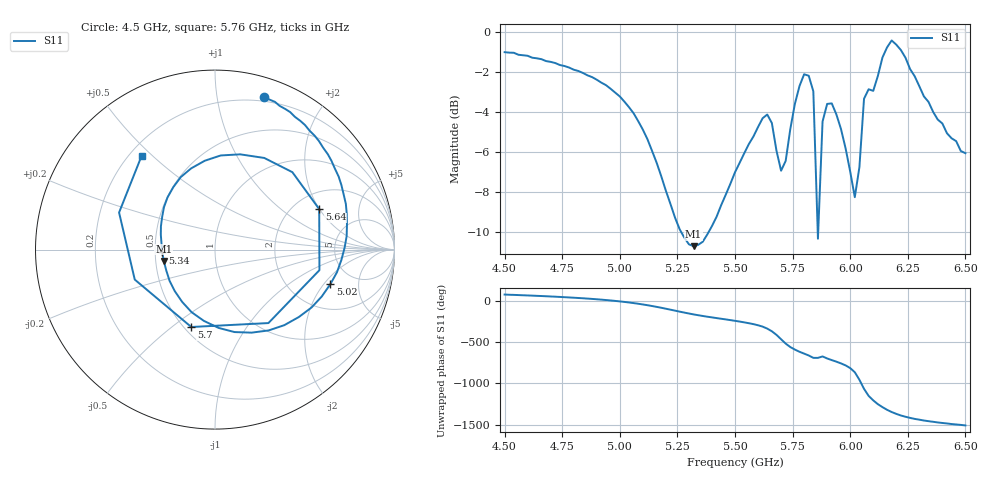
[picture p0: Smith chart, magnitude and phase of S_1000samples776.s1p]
! TOUCHSTONE file generated by CST MICROWAVE STUDIO
! Date and time: Sat Oct 29 08:26:30 2022
! Project name: L.cst
! Parameters = {Di=1.27; Epsilon_r=1.56; InnerDiameter=1.27; Length=2; Lf=10; Lg=60; OuterConductorThickness=0.2921; OuterDiameter=3.6; Wf=3; Wp=41.2; de=1.5; df=6.8; g=0.8; gx=3.34939; gy=1.91221; h=2.34; hf=1.524; px=12.3115; py=14.5233; w=9.7; wx=8.96206; wy=12.6111}
! Header version: 2018
! Port assignment regex: !\s*Touchstone port\s*([0-9]+)\s*=\s*(CST MWS port|CST DS port)\s*([0-9]+|Zmin|Zmax)\s*\(\"(.*)\"\)(\s*mode\s*([0-9]+))?.*
! Touchstone port assignment:
! Touchstone port 1 = CST MWS port 1 ("")
# GHz S DB R 50
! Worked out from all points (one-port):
!   101 points, 4.5 GHz to 6.5 GHz, reference 50 ohm
!   lowest |S11| = -10.7 dB at 5.32 GHz (marker M1), VSWR 1.83, Z = 27.6 - j3.86 ohm
!   |S11| at or under -10 dB: 5.268 GHz to 5.384 GHz (116.9 MHz wide, 2.19 % of centre); 5.859156 GHz to 5.861061 GHz (1.905 MHz wide, 0.0325 % of centre)
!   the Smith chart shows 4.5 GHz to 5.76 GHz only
!   S11 on the Smith chart (normalised r, x): 4.5 GHz: 0.16, +1.36; 5.02 GHz: 3.33, -2.34; 5.34 GHz: 0.55, -0.02; 5.64 GHz: 2.70, +1.99; 5.7 GHz: 0.54, -0.59; 5.76 GHz: 0.25, +0.46
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4.5  -1.00 72.1
4.76  -1.69 40.2
5  -3.21 -10.5
5.02  -3.47 -16.8
5.14  -5.93 -66.3
5.26  -9.84 -134.2
5.32  -10.68 -167.4
5.34  -10.62 -176.9
5.5  -6.99 115.2
5.64  -4.11 21.2
5.66  -4.54 -11.1
5.7  -6.92 -107.0
5.76  -3.58 128.2
5.8  -2.10 79.7
5.84  -2.95 28.5
5.86  -10.31 28.3
5.88  -4.46 45.6
5.94  -4.11 -17.4
6  -6.96 -94.9
6.04  -6.74 124.1
6.06  -3.32 15.0
6.08  -2.85 -70.1
6.12  -2.19 -169.7
6.14  -1.27 154.4
6.18  -0.41 95.2
6.26  -1.84 24.4
6.34  -3.48 -15.3
6.5  -6.04 -66.7
